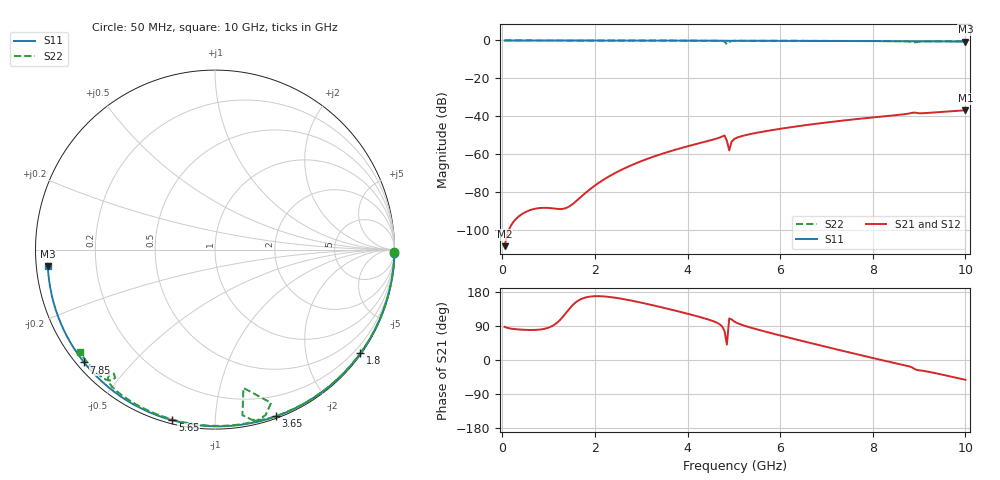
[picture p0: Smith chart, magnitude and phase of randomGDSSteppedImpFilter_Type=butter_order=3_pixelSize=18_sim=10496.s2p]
! freq	dB(S11)	phase(S11)	dB(S12)	phase(S12)
!  dB(S21)	phase(S21)	dB(S22)	phase(S22)
!S-par simulation data
#  GHz  S  DB  R 50
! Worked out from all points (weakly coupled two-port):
!   200 points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, 50 MHz to 10 GHz, reference 50 ohm
!   highest |S21| = -36.79 dB at 10 GHz (marker M1); lowest = -108.4 dB at 50 MHz (marker M2)
!   lowest |S11| = -0.6 dB at 10 GHz (marker M3), VSWR 30.26, Z = 1.66 - j2.5 ohm
!   |S11| at or under -10 dB: nowhere
!   |S22| runs from -2.1 to 0.0 dB; largest |S21 - S12| = 0
!   S11 on the Smith chart (normalised r, x): 50 MHz: open; 1.8 GHz: 0.03, -3.12; 3.65 GHz: 0.02, -1.43; 5.65 GHz: 0.02, -0.78; 7.85 GHz: 0.02, -0.37; 10 GHz: 0.03, -0.05
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0.05  -0.00 -1.0  -108.41 87.4  -108.41 87.4  -0.00 -0.8
0.85  -0.02 -17.0  -88.23 80.9  -88.23 80.9  -0.02 -14.0
1.75  -0.04 -34.6  -81.33 163.2  -81.33 163.2  -0.04 -28.6
1.8  -0.05 -35.5  -80.29 165.1  -80.29 165.1  -0.04 -29.4
2.15  -0.05 -42.2  -73.95 168.1  -73.95 168.1  -0.04 -35.0
2.5  -0.06 -48.8  -69.06 163.1  -69.06 163.1  -0.05 -40.5
3.4  -0.09 -65.4  -60.12 140.2  -60.12 140.2  -0.07 -54.5
3.65  -0.09 -69.9  -58.21 132.9  -58.21 132.9  -0.08 -58.3
4.55  -0.12 -85.6  -52.26 102.7  -52.26 102.7  -0.12 -72.6
4.8  -0.13 -89.9  -50.09 76.0  -50.09 76.0  -0.58 -80.6
4.85  -0.14 -90.7  -52.92 40.5  -52.92 40.5  -2.08 -78.4
4.9  -0.14 -91.6  -57.93 109.7  -57.93 109.7  -0.82 -69.9
4.95  -0.14 -92.4  -53.44 107.2  -53.44 107.2  -0.33 -72.9
5.05  -0.15 -94.1  -51.41 98.9  -51.41 98.9  -0.18 -76.2
5.65  -0.17 -104.0  -47.97 75.8  -47.97 75.8  -0.15 -86.2
6.7  -0.24 -121.0  -44.15 43.5  -44.15 43.5  -0.20 -100.7
7.85  -0.33 -139.2  -40.93 9.6  -40.93 9.6  -0.28 -116.0
8.35  -0.38 -147.2  -39.73 -4.7  -39.73 -4.7  -0.33 -122.7
8.8  -0.42 -154.4  -38.40 -17.3  -38.40 -17.3  -0.62 -129.8
8.95  -0.44 -156.8  -38.22 -26.2  -38.22 -26.2  -0.87 -127.9
9.1  -0.46 -159.3  -38.33 -28.8  -38.33 -28.8  -0.49 -130.0
10  -0.57 -174.3  -36.79 -52.2  -36.79 -52.2  -0.49 -142.7
